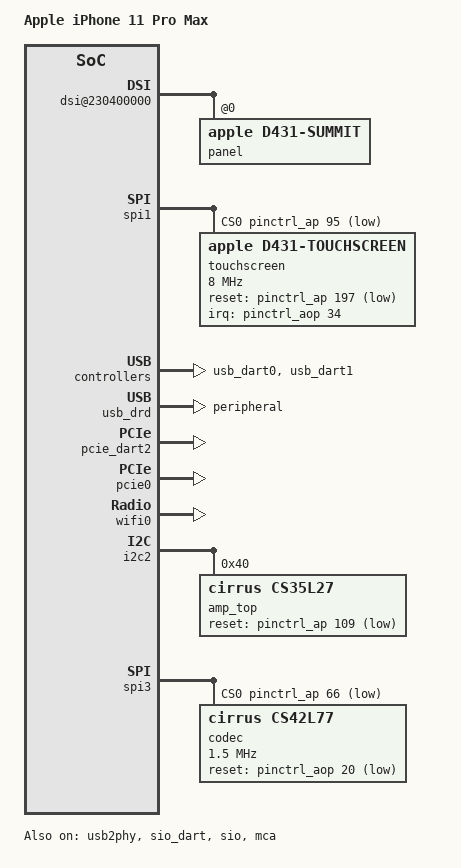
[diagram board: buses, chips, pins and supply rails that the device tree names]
// SPDX-License-Identifier: GPL-2.0-only OR MIT
/*
 * Apple D431
 *
 * Scanout stays on the iBoot framebuffer (simpledrm). The MIPI host is only
 * used for DCS brightness writes to the Summit panel; the ADT gives an 11-bit
 * level encoding and boot brightness 598, the same as D421.
 */
/dts-v1/;

#include "t8030.dtsi"
#include "t8030-common.dtsi"

/ {
	compatible = "apple,d431", "apple,t8030", "apple,arm-platform";
	model = "Apple iPhone 11 Pro Max";

	aliases {
		touchbar0 = &touchscreen;	/* m1n1 copies the ADT multi-touch-calibration here */
		wifi0 = &wifi0;
		bluetooth0 = &bluetooth0;
	};

	sound {
		compatible = "apple,d431-sound";
		apple,mca = <&mca>;
		apple,speaker-amp = <&amp_top>;
		apple,codec = <&codec>;
		reg = <0x2 0x3d284068 0x0 0x10>, <0x2 0x4a870000 0x0 0x8000>;
		reg-names = "aop-ps", "aop-mca";
	};

	chosen {
		#address-cells = <2>;
		#size-cells = <2>;
		ranges;
		stdout-path = "serial0:115200n8";

		framebuffer@0 {
			compatible = "apple,simple-framebuffer", "simple-framebuffer";
			reg = <0 0 0 0>; /* To be filled by loader */

			/* Format properties will be added by loader */
			status = "disabled";
		};
	};
};

&{/soc} {
	dsi@230400000 {
		compatible = "apple,t8030-display-pipe-mipi";
		reg = <0x2 0x30400000 0x0 0xc0000>;
		#address-cells = <1>;
		#size-cells = <0>;

		panel@0 {
			compatible = "apple,d431-summit", "apple,d421-summit",
				     "apple,summit";
			reg = <0>;
			max-brightness = <2047>;
			default-brightness = <598>;
		};
	};
};

/*
 * Multitouch digitizer: HBPP bootloader on SPI1, HID-over-SPI afterwards.
 * ADT: CS GPIO 95, reset GPIO 197 (assumed active low), IRQ on AOP GPIO 34,
 * reference clock gated by SMC key gP00 (PMU GPIO 0); the LDO is marked
 * "Always Powered" in the firmware config. 8 MHz and 250 us CS idle come
 * from the HIDSPI config shipped with the firmware.
 */
&spi1 {
	cs-gpios = <&pinctrl_ap 95 GPIO_ACTIVE_LOW>;
	status = "okay";

	touchscreen: touchscreen@0 {
		compatible = "apple,d431-touchscreen";
		reg = <0>;
		spi-max-frequency = <8000000>;
		spi-cs-inactive-delay-ns = <250000>;
		reset-gpios = <&pinctrl_ap 197 GPIO_ACTIVE_LOW>;
		apple,smc = <&smc>;
		interrupts-extended = <&pinctrl_aop 34 IRQ_TYPE_LEVEL_LOW>;
		firmware-name = "apple/mtfw-d431.bin";
	};
};

&usb2phy {
	apple,cfg0-device = <0x27373bf3>;
	apple,cfg1-device = <0x00020c44>;
	apple,cfg0-host = <0x27373b53>;
	apple,cfg1-host = <0x00020c44>;
	status = "okay";
};

&usb_dart0 {
	status = "okay";
};

&usb_dart1 {
	status = "okay";
};

&usb_drd {
	dr_mode = "peripheral";
	maximum-speed = "high-speed";
	status = "okay";
};

&{/soc/nvme@27acc0000} {
	status = "okay";
};

&pcie_dart2 {
	status = "okay";
};

&pcie0 {
	status = "okay";
};

&port02 {
	bus-range = <1 1>;

	wifi0: wifi@0,0 {
		compatible = "pci14e4,4425";
		reg = <0x10000 0x0 0x0 0x0 0x0>;
		/* Filled from the Apple Device Tree by m1n1. */
		local-mac-address = [00 00 00 00 00 00];
		apple,antenna-sku = "XX";
		brcm,board-type = "apple,tala";
	};

	bluetooth0: bluetooth@0,1 {
		compatible = "pci14e4,5f69";
		reg = <0x10100 0x0 0x0 0x0 0x0>;
		/* Filled from the Apple Device Tree by m1n1. */
		local-bd-address = [00 00 00 00 00 00];
		brcm,board-type = "apple,tala";
	};
};

&sio_dart {
	status = "okay";
};

&sio_mbox {
	status = "okay";
};

&sio {
	status = "okay";
};

&mca {
	/* Port 5, generator 5, pin 0: the ADT's mclk-config for mca5b */
	apple,mclk-out = <5 5 0>;
	status = "okay";
};

&i2c2 {
	status = "okay";

	/* top speaker; the bottom one is AOP-driven */
	amp_top: amplifier@40 {
		compatible = "cirrus,cs35l27";
		reg = <0x40>;
		reset-gpios = <&pinctrl_ap 109 GPIO_ACTIVE_LOW>;
		#sound-dai-cells = <0>;
	};
};

&spi3 {
	cs-gpios = <&pinctrl_ap 66 GPIO_ACTIVE_LOW>;
	status = "okay";

	codec: codec@0 {
		compatible = "cirrus,cs42l77";
		reg = <0>;
		/* bring-up ran at 1.4 MHz; faster is unproven */
		spi-max-frequency = <1500000>;
		reset-gpios = <&pinctrl_aop 20 GPIO_ACTIVE_LOW>;
	};
};
